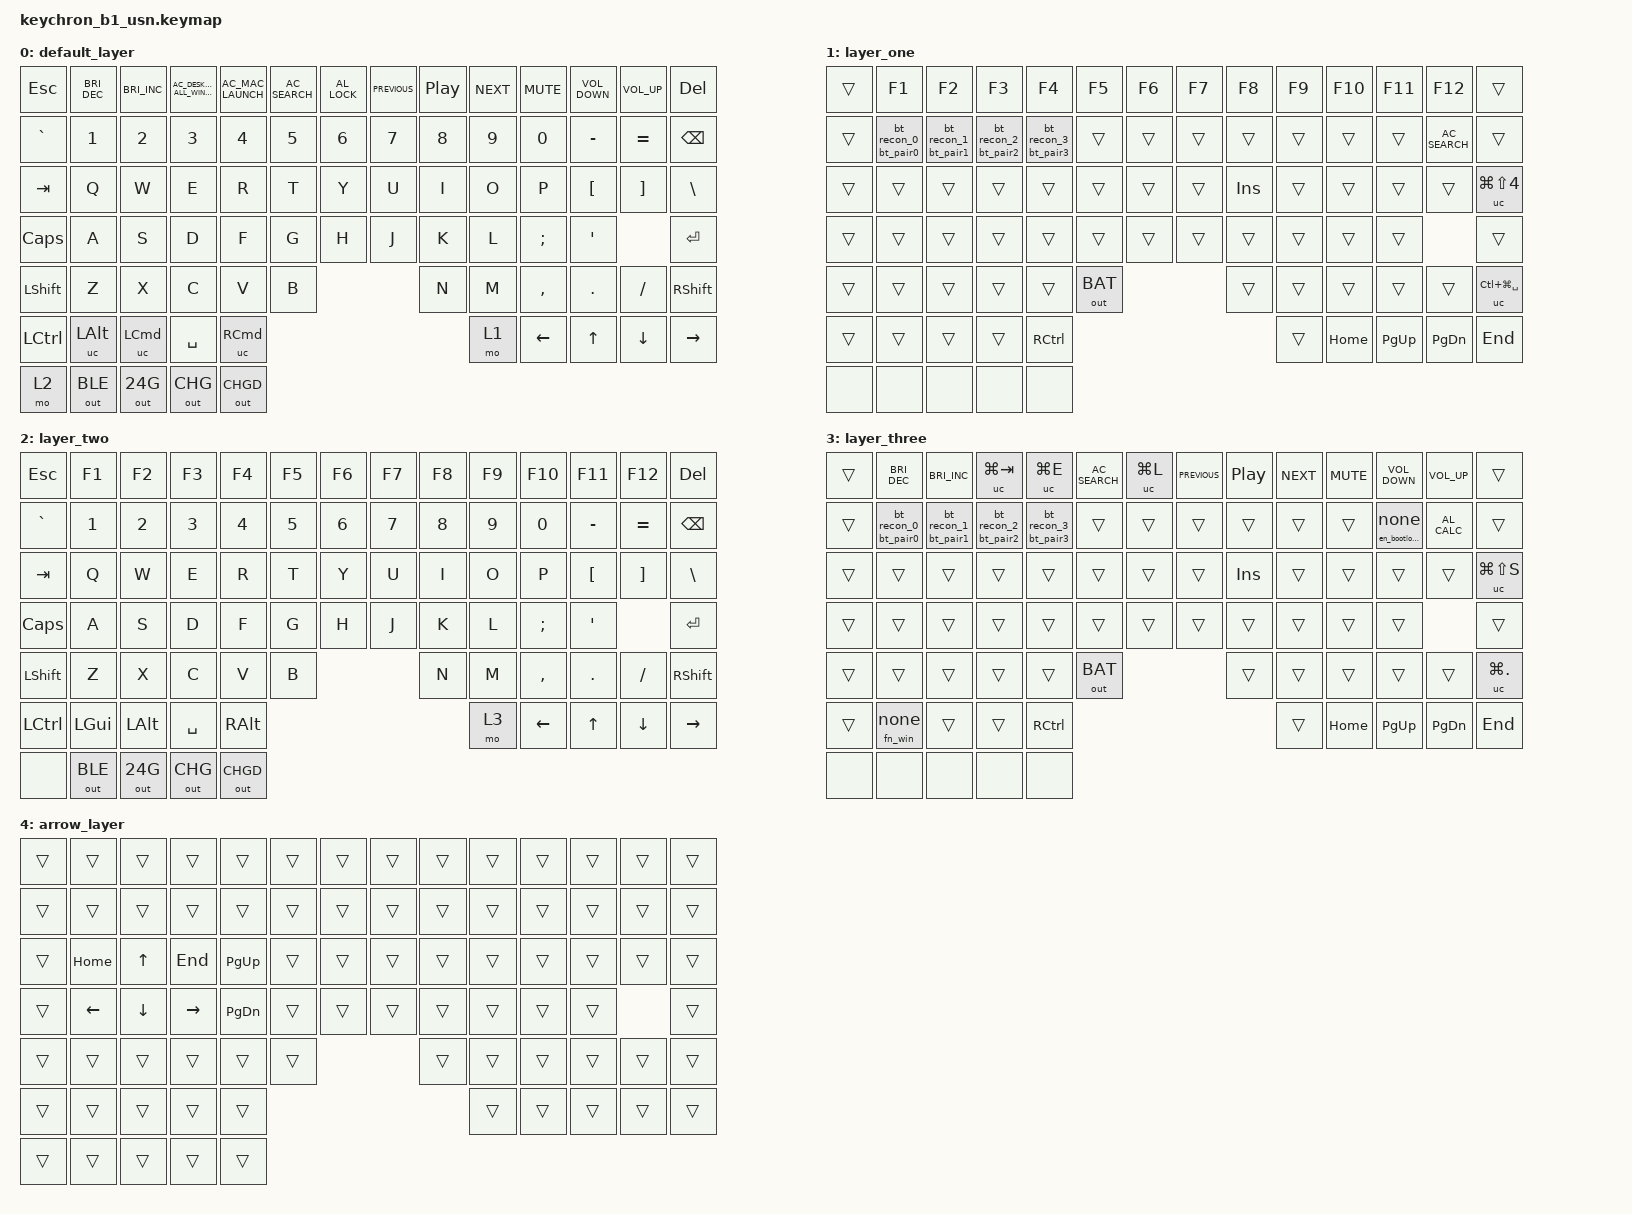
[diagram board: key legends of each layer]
/*
 * Copyright (c) 2023 The ZMK Contributors
 *
 * SPDX-License-Identifier: MIT
 */

#include <behaviors.dtsi>
#include <dt-bindings/zmk/keys.h>
#include <dt-bindings/zmk/rgb.h>
#include <dt-bindings/zmk/bt.h>
#include <dt-bindings/zmk/outputs.h>

/ {
    ZMK_MACRO(recover, bindings = <&out OUT_RECOVER>;)
    ZMK_MACRO(change, bindings = <&out OUT_FN>;)
    ZMK_MACRO(fn_win, bindings = <&out OUT_FN_WIN>;)

    ZMK_MACRO(en_bootloader, bindings = <&bootloader>;)
    ZMK_MACRO1(MA,bindings=<&kp 0x770000>;)

    /*
     * Home row mods. A "Mod-Tap" key set in the Launcher on a left-hand key uses hm_l,
     * on a right-hand key hm_r (see mod_tap_behavior() in src/launcher/map_keycode.c).
     * Settings follow https://precondition.github.io/home-row-mods :
     * - balanced + hold-trigger-on-release: becomes the modifier when a key of the other
     *   hand (or the bottom row) is pressed and released while it is held;
     * - require-prior-idle-ms: always the letter while typing a word;
     * - quick-tap-ms: tap then hold repeats the letter;
     * - same-hand shortcuts: hold both keys past tapping-term-ms.
     *
     * Key positions: left hand 0-6 14-19 28-33 42-47 55-60,
     *                right hand 7-13 20-27 34-41 48-54 61-66, bottom row 67-76.
     */
    hm_l: home_row_mod_left {
        compatible = "zmk,behavior-hold-tap";
        label = "MOD_TAP_L";
        #binding-cells = <2>;
        flavor = "balanced";
        tapping-term-ms = <220>;
        quick-tap-ms = <175>;
        require-prior-idle-ms = <150>;
        hold-trigger-key-positions = <7 8 9 10 11 12 13
                                      20 21 22 23 24 25 26 27
                                      34 35 36 37 38 39 40 41
                                      48 49 50 51 52 53 54
                                      61 62 63 64 65 66
                                      67 68 69 70 71 72 73 74 75 76>;
        hold-trigger-on-release;
        bindings = <&kp>, <&kp>;
    };

    hm_r: home_row_mod_right {
        compatible = "zmk,behavior-hold-tap";
        label = "MOD_TAP_R";
        #binding-cells = <2>;
        flavor = "balanced";
        tapping-term-ms = <220>;
        quick-tap-ms = <175>;
        require-prior-idle-ms = <150>;
        hold-trigger-key-positions = <0 1 2 3 4 5 6
                                      14 15 16 17 18 19
                                      28 29 30 31 32 33
                                      42 43 44 45 46 47
                                      55 56 57 58 59 60
                                      67 68 69 70 71 72 73 74 75 76>;
        hold-trigger-on-release;
        bindings = <&kp>, <&kp>;
    };

    /*
     * Mod-Tap keys whose modifier is only Alt/AltGr/Option (the accent key on Mac and on the
     * us(mac) / AltGr layouts) use this instead of hm_l/hm_r. Accents are typed mid-word and
     * rolled (the mod key goes up before the letter), so the hold is taken as soon as any key
     * is pressed: no prior-idle window, no hand rule. That suits a key that is rarely typed
     * as a letter (K in Portuguese), not a frequent one like S, where rolls such as "se"
     * would become accents. quick-tap-ms keeps tap-then-hold repeating the letter (Vim).
     */
    hm_alt: home_row_mod_alt {
        compatible = "zmk,behavior-hold-tap";
        label = "MOD_TAP_ALT";
        #binding-cells = <2>;
        flavor = "hold-preferred";
        tapping-term-ms = <220>;
        quick-tap-ms = <175>;
        bindings = <&kp>, <&kp>;
    };

    long_press_recover:l1 {
        compatible = "zmk,behavior-hold-tap";
        label = "l1";
        #binding-cells = <2>;
        flavor = "tap-preferred";
        tapping-term-ms = <3000>;  // delay amount in ms
        bindings = <&recover>, <&none>;
    };

    long_press_change:l2{
        compatible = "zmk,behavior-hold-tap";
        label = "lp_change";
        #binding-cells = <2>;
        flavor = "tap-preferred";
        tapping-term-ms = <3000>;  // delay amount in ms
        bindings = <&change>, <&none>;
    };
    long_press_bootloader:l3{
        compatible = "zmk,behavior-hold-tap";
        label = "lp_bootloader";
        #binding-cells = <2>;
        flavor = "tap-preferred";
        tapping-term-ms = <3000>;  // delay amount in ms
        bindings = <&en_bootloader>, <&none>;
    };
    long_press_fn_win:l4{
        compatible = "zmk,behavior-hold-tap";
        label = "lp_fn_win";
        #binding-cells = <2>;
        flavor = "tap-preferred";
        tapping-term-ms = <3000>;   
        bindings = <&fn_win>, <&none>;
    };
   

    combos1 {
        compatible = "zmk,combos";
        combo_jz {
            timeout-ms = <500>;
            layers = <1 3>;
            key-positions = <13 56>; //fn+del+z (moved off J so J is never held back on the Fn layers)
            bindings = <&long_press_recover 0 0>;
        };
        combo_xl {
            timeout-ms = <500>;
            layers =< 1 3>;
            key-positions = <13 57>; //fn+del+x (moved off L so L is never held back on the Fn layers)
            bindings = <&long_press_change 0 0>;
        };
/*        
        combo_b {
            timeout-ms = <1000>;
            layers =< 1 3>;
            //slow-release = <true>;
            key-positions = <60>; //fn+b
            bindings = <&out OUT_BAT>;
        };

        combo_win_l {
            timeout-ms = <1000>;
            layers =< 1 3>;
            //slow-release = <true>;
            key-positions = <68>; //fn+win
            bindings = <&long_press_fn_win 0 0>;
        };
*/
        combo_t0 {
            timeout-ms = <10 >;
            layers =<4>;
          
            key-positions = <80 90>;  
            bindings = <&to 3 >;
        };
        combo_t1 {
            timeout-ms = <10 >;
            layers =<4>;
          
            key-positions = <80 91>;  
            bindings = <&tog 3 >;
        };
        combo_t2 {
            timeout-ms = <10 >;
            layers =<4>;
          
            key-positions = <80 92>;  
            bindings = <&sl 3 >;
        };
        combo_t3 {
            timeout-ms = <10 >;
            layers =<4>;
          
            key-positions = <70 93>;  
            bindings = <&lt 3 SPACE>;
        };
        combo_t4 {
            timeout-ms = <10 >;
            layers =<4>;
          
            key-positions = <81 94>;  
            bindings = <&sk LSHIFT>;
        };
        combo_t5 {
            timeout-ms = <10 >;
            layers =<4>;
          
            key-positions = <81 93>;  
            bindings = <&mt LSHIFT SPACE>;
        };
        combo_t6 {
            timeout-ms = <10 >;
            layers =<4>;
          
            key-positions = <81 93>;  
            bindings = <&gresc>;
        };
    };

    td0 {
        compatible = "zmk,behavior-tap-dance";
        label = "TAPD_LAYER";
        #binding-cells = <1>;
        tapping-term-ms = <350>;
        bindings =<&mo 0>,<&mo 0>,<&mo 0>,<&mo 0>,<&to 0>;
    };
    ZMK_MACRO(bt_pair0, bindings = <&bt BT_PAIR 0>;)
    ZMK_MACRO(bt_pair1, bindings = <&bt BT_PAIR 1>;)
    ZMK_MACRO(bt_pair2, bindings = <&bt BT_PAIR 2>;)
    ZMK_MACRO(bt_pair3, bindings = <&bt BT_PAIR 3>;)
    ZMK_MACRO(bt_recon_0, bindings = <&bt BT_SEL 0>;)
    ZMK_MACRO(bt_recon_1, bindings = <&bt BT_SEL 1>;)
    ZMK_MACRO(bt_recon_2, bindings = <&bt BT_SEL 2>;)
    ZMK_MACRO(bt_recon_3, bindings = <&bt BT_SEL 3>;)
    


    bt_pair_0: bt_pair_0 {
        compatible = "zmk,behavior-hold-tap";
        label = "bt_pair0";
        #binding-cells = <2>;
        flavor = "tap-preferred";
        tapping-term-ms = <3000>;  // delay amount in ms
        bindings = <&bt_pair0>, <&bt_recon_0>;
    };
    bt_pair_1: bt_pair_1 {
        compatible = "zmk,behavior-hold-tap";
        label = "bt_pair1";
        #binding-cells = <2>;
        flavor = "tap-preferred";
        tapping-term-ms = <3000>;  // delay amount in ms
        bindings = <&bt_pair1>, <&bt_recon_1>;
    };
    bt_pair_2: bt_pair_2 {
        compatible = "zmk,behavior-hold-tap";
        label = "bt_pair2";
        #binding-cells = <2>;
        flavor = "tap-preferred";
        tapping-term-ms = <3000>;  // delay amount in ms
        bindings = <&bt_pair2>, <&bt_recon_2>;
    };
    bt_pair_3: bt_pair_3 {
        compatible = "zmk,behavior-hold-tap";
        label = "bt_pair3";
        #binding-cells = <2>;
        flavor = "tap-preferred";
        tapping-term-ms = <3000>;  // delay amount in ms
        bindings = <&bt_pair3>, <&bt_recon_3>;
    };
    uc:user_custom {
        compatible = "zmk,behavior-key-press";
        label ="user_custom";
        #binding-cells =<1>;
    };

	keymap {
    	compatible = "zmk,keymap";
            //mac
        default_layer {
        bindings = <
          //ESC         //f1                    //f2                //f3                                    //f4                //f5                //f6            //f7            //f8                //f9        //f10       //f11               //f12               //DEL                                              
        &kp ESC     &kp C_BRIGHTNESS_DEC    &kp C_BRIGHTNESS_INC    &kp C_AC_DESKTOP_SHOW_ALL_WINDOWS   &kp  C_AC_MAC_LAUNCH    &kp C_AC_SEARCH     &kp C_AL_LOCK   &kp C_PREVIOUS  &kp C_PLAY_PAUSE    &kp C_NEXT  &kp C_MUTE  &kp C_VOLUME_DOWN   &kp C_VOLUME_UP     &kp DEL  
        &kp GRAVE   &kp N1                  &kp N2                  &kp N3                              &kp N4                  &kp N5              &kp N6          &kp N7          &kp N8              &kp N9      &kp N0      &kp MINUS           &kp EQUAL           &kp BSPC 
        &kp TAB     &kp Q                   &kp W                   &kp E                               &kp R                   &kp T               &kp Y           &kp U           &kp I               &kp O       &kp P       &kp LBKT            &kp RBKT            &kp BSLH      
        &kp CLCK    &kp A                   &kp S                   &kp D                               &kp F                   &kp G               &kp H           &kp J           &kp K               &kp L       &kp SEMI    &kp SQT                         &kp RET                                         
        &kp LSHFT   &kp Z                   &kp X                   &kp C                               &kp V                   &kp B               &kp N           &kp M           &kp COMMA           &kp DOT     &kp FSLH                                    &kp RSHFT 
        &kp LCTRL   &uc LALT                &uc LCMD                       &kp SPACE                                                                                                &uc RCMD            &mo 1       &kp LEFT    &kp UP              &kp DOWN            &kp RIGHT   
        &mo 2       &out OUT_BLE            &out OUT_24G            &out OUT_CHG                        &out OUT_CHGD 
            >;
        };
        //mac
        layer_one  {
        bindings = < 
        &trans      &kp F1                  &kp F2                  &kp F3                              &kp F4                  &kp F5              &kp F6          &kp F7          &kp F8              &kp F9      &kp F10     &kp F11             &kp F12             &trans    
        &trans      &bt_pair_0 0 0          &bt_pair_1 0 0          &bt_pair_2 0 0                      &bt_pair_3 0 0          &trans              &trans          &trans          &trans              &trans      &trans      &trans              &kp C_AC_SEARCH     &trans      
        &trans      &trans                  &trans                  &trans                              &trans                  &trans              &trans          &trans          &kp INS             &trans      &trans      &trans              &trans              &uc LG(LS(N4))
        &trans      &trans                  &trans                  &trans                              &trans                  &trans              &trans          &trans          &trans              &trans      &trans      &trans                      &trans                  
        &trans      &trans                  &trans                  &trans                              &trans                  &out OUT_BAT        &trans          &trans          &trans              &trans      &trans                                  &uc LC(LG(SPACE))
        &trans      &trans                  &trans                         &trans                                                                                                   &kp RCTRL           &trans        &kp HOME   &kp PG_UP   &kp PG_DN    &kp END  
        //
        &none       &none                   &none                   &none                               &none
            >;
        };
        //win
        layer_two {
 		bindings = <
        &kp ESC 	&kp F1 	               &kp F2 	                &kp F3 	                            &kp F4 	                &kp F5 	            &kp F6 	        &kp F7 	        &kp F8 	            &kp F9 	     &kp F10 	&kp F11 	         &kp F12 	         &kp DEL     
        &kp GRAVE	&kp N1 	               &kp N2 	                &kp N3 	                            &kp N4 	                &kp N5 	            &kp N6 	        &kp N7 	        &kp N8 	            &kp N9 	     &kp N0     &kp MINUS 	         &kp EQUAL 	         &kp BSPC
        &kp TAB 	&kp Q 	               &kp W                    &kp E 	                            &kp R 	                &kp T               &kp Y 	        &kp U 	        &kp I 	            &kp O 	     &kp P 		&kp LBKT 	         &kp RBKT 	         &kp BSLH 	 	
        &kp CLCK 	&kp A 	               &kp S 	                &kp D 	                            &kp F 	                &kp G 	            &kp H 	        &kp J 	        &kp K 	            &kp L 	     &kp SEMI 	&kp SQT                      &kp RET
        &kp LSHFT   &kp Z 	               &kp X 	                &kp C 	                            &kp V 	                &kp B 	            &kp N 	        &kp M 	        &kp COMMA           &kp DOT      &kp FSLH                                &kp RSHFT				
        &kp LCTRL 	&kp LGUI               &kp LALT                      &kp SPACE              		                                                                            &kp RALT 	        &mo 3 		  &kp LEFT 	 &kp UP      &kp DOWN 	&kp RIGHT 	
        //
        &none       &out OUT_BLE           &out OUT_24G             &out OUT_CHG                        &out OUT_CHGD 
            >;
        };
        //win
        layer_three {
        bindings = < 
                    //f1                    //f2                    //f3                                //f4                        //f5            //f6              //f7            //f8              //f9        //f10           //f11                         //f12                     
        &trans  &kp C_BRIGHTNESS_DEC    &kp C_BRIGHTNESS_INC        &uc LG(TAB)                         &uc LG(E)               &kp C_AC_SEARCH     &uc LG(L)       &kp C_PREVIOUS  &kp C_PLAY_PAUSE    &kp C_NEXT  &kp C_MUTE  &kp C_VOLUME_DOWN           &kp C_VOLUME_UP      &trans   
        &trans  &bt_pair_0 0 0          &bt_pair_1 0 0              &bt_pair_2 0 0                      &bt_pair_3 0 0          &trans              &trans          &trans          &trans              &trans      &trans      &long_press_bootloader 0 0  &kp C_AL_CALC        &trans          
        &trans  &trans                  &trans                      &trans                              &trans                  &trans              &trans          &trans          &kp INS             &trans      &trans      &trans                      &trans               &uc LG(LS(S))      
        &trans  &trans                  &trans                      &trans                              &trans                  &trans              &trans          &trans          &trans              &trans      &trans      &trans                              &trans  
        &trans  &trans                  &trans                      &trans                              &trans                  &out OUT_BAT        &trans          &trans          &trans              &trans      &trans                                          &uc LG(DOT) 
        &trans  &long_press_fn_win 0 0  &trans                           &trans                                                                                                     &kp RCTRL           &trans      &kp HOME    &kp PG_UP    &kp PG_DN   &kp END    
        //
        &none   &none                   &none                       &none                               &none
            >;
        };
        // Arrows, shared by Mac and Win: hold L (set LT(4,L) in the Launcher).
        //   Q Home   W Up     E End    R PgUp
        //   A Left   S Down   D Right  F PgDn
        // Everything else falls through, so Shift/Cmd/Ctrl + arrows select and jump.
        arrow_layer {
        bindings = <
        &trans  &trans  &trans  &trans  &trans  &trans  &trans  &trans  &trans  &trans  &trans  &trans  &trans  &trans
        &trans  &trans  &trans  &trans  &trans  &trans  &trans  &trans  &trans  &trans  &trans  &trans  &trans  &trans
        &trans  &kp HOME  &kp UP  &kp END  &kp PG_UP  &trans  &trans  &trans  &trans  &trans  &trans  &trans  &trans  &trans
        &trans  &kp LEFT  &kp DOWN  &kp RIGHT  &kp PG_DN  &trans  &trans  &trans  &trans  &trans  &trans  &trans  &trans
        &trans  &trans  &trans  &trans  &trans  &trans  &trans  &trans  &trans  &trans  &trans  &trans
        &trans  &trans  &trans  &trans  &trans  &trans  &trans  &trans  &trans  &trans  &trans
        &trans  &trans  &trans  &trans
            >;
        };

   

    	
    
	};
};

/*
 * One-shot Shift (OSM in the Launcher): tap Shift, the next key is shifted. quick-release lets
 * it go when the next key is pressed (fast rolls like "Th" give "Th", not "TH"); it waits
 * up to 5 s for that key.
 */
&sk {
    release-after-ms = <5000>;
    quick-release;
};

/* Layer-tap keys (A = Fn, L = arrows): tap then hold within 175 ms repeats the letter. */
&lt {
    quick-tap-ms = <175>;
};
